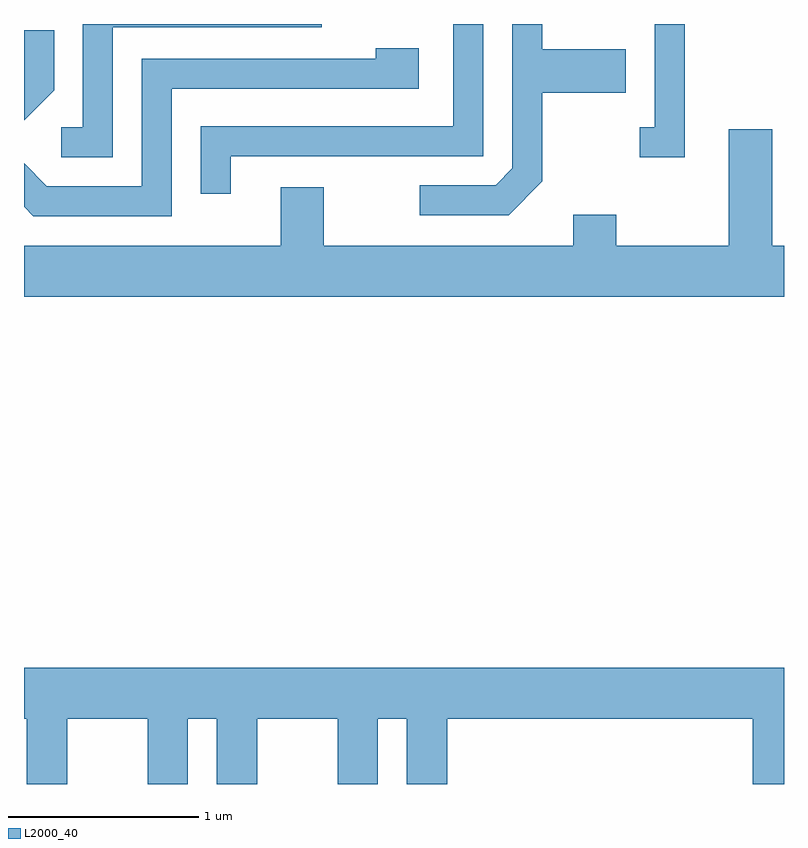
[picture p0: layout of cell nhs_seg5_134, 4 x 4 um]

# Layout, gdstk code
import gdstk
lib = gdstk.Library(unit=1e-6, precision=1e-09)
def P(c, l, *ps):  # polygons
    for p in ps: c.add(gdstk.Polygon(p, *l))
L2000_40 = (2000, 40)

nhs_seg5_134 = lib.new_cell('nhs_seg5_134')
P(nhs_seg5_134, L2000_40, [(193.089,1396.072),(192.931,1396.072),(192.931,1395.529),(192.853,1395.529),(192.853,1395.371),(193.089,1395.371)],
  [(192.339,1395.244),(192.339,1395.711),(192.779,1395.711),(192.779,1395.939),(192.339,1395.939),(192.339,1396.072),(192.181,1396.072),(192.181,1395.312),(192.094,1395.224),(191.693,1395.224),(191.693,1395.066),(192.162,1395.066)],
  [(190.079,1396.056),(191.178,1396.056),(191.178,1396.072),(189.921,1396.072),(189.921,1395.529),(189.808,1395.529),(189.808,1395.371),(190.079,1395.371)],
  [(190.699,1395.376),(192.029,1395.376),(192.029,1396.072),(191.871,1396.072),(191.871,1395.534),(190.541,1395.534),(190.541,1395.178),(190.699,1395.178)],
  [(189.769,1395.724),(189.769,1396.038),(189.611,1396.038),(189.611,1395.565)],
  [(190.389,1395.731),(191.689,1395.731),(191.689,1395.944),(191.461,1395.944),(191.461,1395.889),(190.231,1395.889),(190.231,1395.219),(189.732,1395.219),(189.611,1395.34),(189.611,1395.109),(189.659,1395.061),(190.389,1395.061)],
  [(193.611,1394.904),(193.549,1394.904),(193.549,1395.519),(193.321,1395.519),(193.321,1394.904),(192.729,1394.904),(192.729,1395.069),(192.501,1395.069),(192.501,1394.904),(191.189,1394.904),(191.189,1395.214),(190.961,1395.214),(190.961,1394.904),(189.611,1394.904),(189.611,1394.636),(193.611,1394.636)],
  [(189.839,1392.416),(190.261,1392.416),(190.261,1392.072),(190.474,1392.072),(190.474,1392.416),(190.626,1392.416),(190.626,1392.072),(190.839,1392.072),(190.839,1392.416),(191.261,1392.416),(191.261,1392.072),(191.474,1392.072),(191.474,1392.416),(191.626,1392.416),(191.626,1392.072),(191.839,1392.072),(191.839,1392.416),(193.446,1392.416),(193.446,1392.072),(193.611,1392.072),(193.611,1392.684),(189.611,1392.684),(189.611,1392.416),(189.626,1392.416),(189.626,1392.072),(189.839,1392.072)])

lib.write_gds('nhs_seg5_134.gds')
